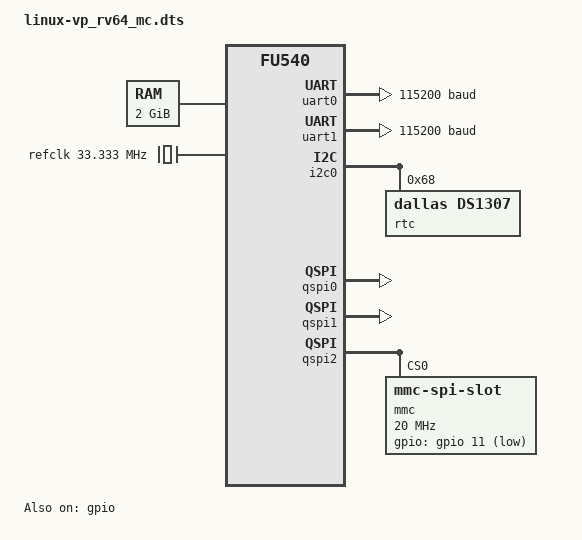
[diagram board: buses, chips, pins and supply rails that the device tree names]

// SPDX-License-Identifier: (GPL-2.0 OR MIT)
/*
 * Copyright (c) 2022-2025 Manfred SCHLAEGL <manfred.schlaegl@gmx.at>
 * Copyright (c) 2018-2019 SiFive, Inc
 */

/dts-v1/;

/ {
	#address-cells = <2>;
	#size-cells = <2>;
	compatible = "sifive,fu540-c000", "sifive,fu540";

	aliases {
		serial0 = &uart0;
		serial1 = &uart1;
	};

	chosen {
		bootargs = "earlycon=sbi root=/dev/mtdblock0 rootfstype=squashfs ro";
		stdout-path = &uart0;
	};

	cpus {
		#address-cells = <1>;
		#size-cells = <0>;

		timebase-frequency = <1000000>;

		cpu0: cpu@0 {
			compatible = "sifive,e51", "sifive,rocket0", "riscv";
			device_type = "cpu";
			reg = <0>;
			riscv,isa = "rv64imac_zicntr_zicsr_zifencei_svpbmt";
			riscv,isa-base = "rv64i";
			riscv,isa-extensions = "i", "m", "a", "c", "zicntr", "zicsr", "zifencei", "svpbmt";
			clock-frequency = <100000000>;
			status = "disabled";
			cpu0_intc: interrupt-controller {
				#interrupt-cells = <1>;
				compatible = "riscv,cpu-intc";
				interrupt-controller;
			};
		};
		cpu1: cpu@1 {
			compatible = "sifive,u54-mc", "sifive,rocket0", "riscv";
			device_type = "cpu";
			mmu-type = "riscv,sv39";
			reg = <1>;
			riscv,isa = "rv64imafdcv_zicntr_zicsr_zifencei_svpbmt";
			riscv,isa-base = "rv64i";
			riscv,isa-extensions = "i", "m", "a", "f", "d", "c", "v", "zicntr", "zicsr", "zifencei", "svpbmt";
			clock-frequency = <100000000>;
			cpu1_intc: interrupt-controller {
				#interrupt-cells = <1>;
				compatible = "riscv,cpu-intc";
				interrupt-controller;
			};
		};
		cpu2: cpu@2 {
			compatible = "sifive,u54-mc", "sifive,rocket0", "riscv";
			device_type = "cpu";
			mmu-type = "riscv,sv39";
			reg = <2>;
			riscv,isa = "rv64imafdcv_zicntr_zicsr_zifencei_svpbmt";
			riscv,isa-base = "rv64i";
			riscv,isa-extensions = "i", "m", "a", "f", "d", "c", "v", "zicntr", "zicsr", "zifencei", "svpbmt";
			clock-frequency = <100000000>;
			cpu2_intc: interrupt-controller {
				#interrupt-cells = <1>;
				compatible = "riscv,cpu-intc";
				interrupt-controller;
			};
		};
		cpu3: cpu@3 {
			compatible = "sifive,u54-mc", "sifive,rocket0", "riscv";
			device_type = "cpu";
			mmu-type = "riscv,sv39";
			reg = <3>;
			riscv,isa = "rv64imafdcv_zicntr_zicsr_zifencei_svpbmt";
			riscv,isa-base = "rv64i";
			riscv,isa-extensions = "i", "m", "a", "f", "d", "c", "v", "zicntr", "zicsr", "zifencei", "svpbmt";
			clock-frequency = <100000000>;
			cpu3_intc: interrupt-controller {
				#interrupt-cells = <1>;
				compatible = "riscv,cpu-intc";
				interrupt-controller;
			};
		};
		cpu4: cpu@4 {
			compatible = "sifive,u54-mc", "sifive,rocket0", "riscv";
			device_type = "cpu";
			mmu-type = "riscv,sv39";
			reg = <4>;
			riscv,isa = "rv64imafdcv_zicntr_zicsr_zifencei_svpbmt";
			riscv,isa-base = "rv64i";
			riscv,isa-extensions = "i", "m", "a", "f", "d", "c", "v", "zicntr", "zicsr", "zifencei", "svpbmt";
			clock-frequency = <100000000>;
			cpu4_intc: interrupt-controller {
				#interrupt-cells = <1>;
				compatible = "riscv,cpu-intc";
				interrupt-controller;
			};
		};

		cpu-map {
			cluster0 {
				core0 {
					cpu = <&cpu0>;
				};
				core1 {
					cpu = <&cpu1>;
				};
				core2 {
					cpu = <&cpu2>;
				};
				core3 {
					cpu = <&cpu3>;
				};
				core4 {
					cpu = <&cpu4>;
				};

			};
		};
	};

	memory@80000000 {
		device_type = "memory";
		reg = <0x0 0x80000000 0x0 0x80000000>;
	};

	reserved-memory {
		#address-cells = <2>;
		#size-cells = <2>;
		ranges;

		cache_ace_reserved: cache-ace@e0000000 {
			reg = <0x0 0xE0000000 0x0 0x20000000>;
			no-map;
		};
	};

	refclk: refclk {
		#clock-cells = <0>;
		compatible = "fixed-clock";
		clock-frequency = <33333333>;
		clock-output-names = "refclk";
	};

	soc {
		#address-cells = <2>;
		#size-cells = <2>;
		compatible = "simple-bus";
		ranges;

		test: test@100000 {
			reg = <0x0 0x100000 0x0 0x1000>;
			compatible = "sifive,test1", "sifive,test0", "syscon";
		};

		clint0: clint@2000000 {
			compatible = "sifive,fu540-c000-clint", "sifive,clint0";
			reg = <0x0 0x2000000 0x0 0xC000>;
			interrupts-extended = 
				<&cpu0_intc 3>, <&cpu0_intc 7>,
				<&cpu1_intc 3>, <&cpu1_intc 7>,
				<&cpu2_intc 3>, <&cpu2_intc 7>,
				<&cpu3_intc 3>, <&cpu3_intc 7>,
				<&cpu4_intc 3>, <&cpu4_intc 7>;
		};

		plic0: interrupt-controller@c000000 {
			compatible = "sifive,fu540-c000-plic", "sifive,plic-1.0.0";
			reg = <0x0 0xc000000 0x0 0x4000000>;
			#address-cells = <0>;
			#interrupt-cells = <1>;
			interrupt-controller;
			interrupts-extended = 
				<&cpu0_intc 0xffffffff>,
				<&cpu1_intc 0xffffffff>, <&cpu1_intc 9>,
				<&cpu2_intc 0xffffffff>, <&cpu2_intc 9>,
				<&cpu3_intc 0xffffffff>, <&cpu3_intc 9>,
				<&cpu4_intc 0xffffffff>, <&cpu4_intc 9>;
			riscv,ndev = <53>;
		};

		rng: hwrng@10001000 {
			compatible = "timeriomem_rng";
			reg = <0x0 0x10001000 0x0 0x4>;
			period = <1>;
			quality = <100>;
		};

		uart0: serial@10010000 {
			compatible = "sifive,fu540-c000-uart", "sifive,uart0";
			reg = <0x0 0x10010000 0x0 0x1000>;
			interrupt-parent = <&plic0>;
			interrupts = <4>;
			clocks = <&refclk>;
			current-speed = <115200>;
			status = "okay";
		};

		uart1: serial@10011000 {
			compatible = "sifive,fu540-c000-uart", "sifive,uart0";
			reg = <0x0 0x10011000 0x0 0x1000>;
			interrupt-parent = <&plic0>;
			interrupts = <5>;
			clocks = <&refclk>;
			current-speed = <115200>;
			status = "okay";
		};

		gpio: gpio@10060000 {
			compatible = "sifive,fu540-c000-gpio", "sifive,gpio0";
			interrupt-parent = <&plic0>;
			interrupts = <7>, <8>, <9>, <10>, <11>, <12>, <13>,
					<14>, <15>, <16>, <17>, <18>, <19>, <20>,
					<21>, <22>;
			reg = <0x0 0x10060000 0x0 0x1000>;
			gpio-controller;
			#gpio-cells = <2>;
			interrupt-controller;
			#interrupt-cells = <2>;
			clocks = <&refclk>;
			status = "okay";
		};

		i2c0: i2c@10030000 {
			compatible = "sifive,fu540-c000-i2c", "sifive,i2c0";
			reg = <0x0 0x10030000 0x0 0x1000>;
			interrupt-parent = <&plic0>;
			interrupts = <50>;
			//clocks = <&prci FU540_PRCI_CLK_TLCLK>;
			clocks = <&refclk>;
			reg-shift = <2>;
			reg-io-width = <1>;
			#address-cells = <1>;
			#size-cells = <0>;
			status = "okay";

			rtc@68 {
				compatible = "dallas,ds1307";
				reg = <0x68>;
				//interrupt-parent = <&gpio4>;
				//interrupts = <20 0>;
				//trickle-resistor-ohms = <250>;
			};
		};

		qspi0: spi@10040000 {
			/* spi flash interface not supported yet */
			compatible = "sifive,fu540-c000-spi", "sifive,spi0";
			reg = <0x0 0x10040000 0x0 0x1000>;
			interrupt-parent = <&plic0>;
			interrupts = <51>;
			clocks = <&refclk>;
			#address-cells = <1>;
			#size-cells = <0>;
			status = "okay";
		};

		qspi1: spi@10041000 {
			/* spi flash interface not supported yet */
			compatible = "sifive,fu540-c000-spi", "sifive,spi0";
			reg = <0x0 0x10041000 0x0 0x1000>;
			interrupt-parent = <&plic0>;
			interrupts = <52>;
			clocks = <&refclk>;
			#address-cells = <1>;
			#size-cells = <0>;
			status = "okay";
		};

		qspi2: spi@10050000 {
			compatible = "sifive,fu540-c000-spi", "sifive,spi0";
			reg = <0x0 0x10050000 0x0 0x1000>;
			interrupt-parent = <&plic0>;
			interrupts = <6>;
			clocks = <&refclk>;
			#address-cells = <1>;
			#size-cells = <0>;
			status = "okay";

			mmc@0 {
				compatible = "mmc-spi-slot";
				reg = <0>;
				spi-max-frequency = <20000000>;
				voltage-ranges = <3300 3300>;
				disable-wp;
				/* dt includes not handled yet */
				//gpios = <&gpio 11 GPIO_ACTIVE_LOW>;
				gpios = <&gpio 11 1>;
			};
		};

		framebuffer0: framebuffer@11000000 {
			compatible = "allwinner,simple-framebuffer", "simple-framebuffer";
			reg = <0x0 0x11000000 0x0 0x1000000>;
			width = <800>;
			height = <480>;
			stride = <1600>; /* width * byte/pixel */
			format = "r5g6b5";
		};

		simpleinputptr0: simpleinputptr@12000000 {
			reg = <0x0 0x12000000 0x0 0x0000fff>;
			interrupt-parent = <&plic0>;
			interrupts = <10>;
			compatible = "ics,simpleinputptr";
		};

		simpleinputkbd0: simpleinputkbd@12001000 {
			reg = <0x0 0x12001000 0x0 0x0000fff>;
			interrupt-parent = <&plic0>;
			interrupts = <11>;
			compatible = "ics,simpleinputkbd";
		};

		mram_rootfs: mram@40000000 {
			reg = <0x0 0x40000000 0x0 0x20000000>;
			bank-width = <4>;
			compatible = "mtd-ram";

			#address-cells = <2>;
			#size-cells = <2>;
			rootfs@0 {
				label = "rootfs";
				reg = <0x0 0x00000000 0x0 0x20000000>;
			};
		};

		mram_data: mram@60000000 {
			reg = <0x0 0x60000000 0x0 0x20000000>;
			bank-width = <4>;
			compatible = "mtd-ram";

			#address-cells = <2>;
			#size-cells = <2>;
			data@0 {
				label = "data";
				reg = <0x0 0x00000000 0x0 0x20000000>;
			};
		};
	};

	poweroff {
		value = <0x5555>;
		offset = <0x00>;
		regmap = <&test>;
		compatible = "syscon-poweroff";
	};

	reboot {
		value = <0x7777>;
		offset = <0x00>;
		regmap = <&test>;
		compatible = "syscon-reboot";
	};
};
